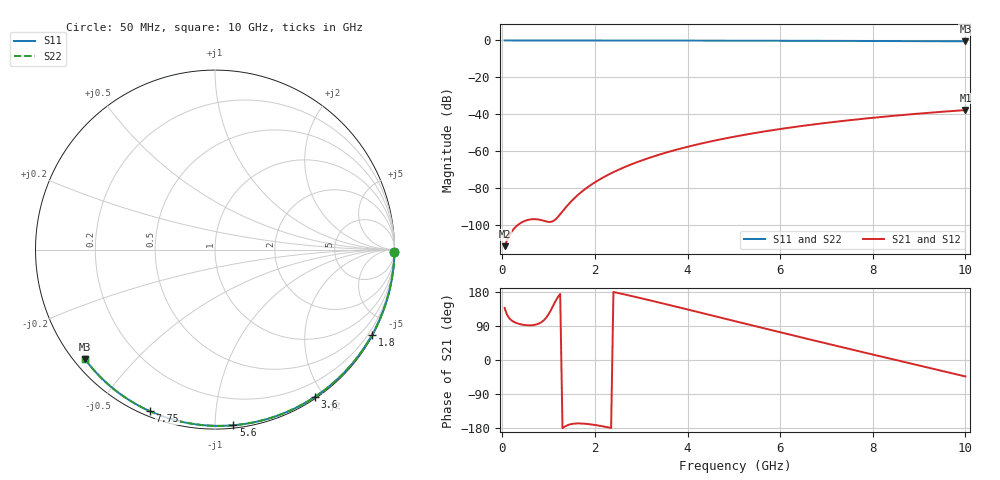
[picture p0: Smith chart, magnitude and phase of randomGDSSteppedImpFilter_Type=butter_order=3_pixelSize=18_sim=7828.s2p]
! freq	dB(S11)	phase(S11)	dB(S12)	phase(S12)
!  dB(S21)	phase(S21)	dB(S22)	phase(S22)
!S-par simulation data
#  GHz  S  DB  R 50
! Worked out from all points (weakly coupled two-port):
!   200 points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, 50 MHz to 10 GHz, reference 50 ohm
!   highest |S21| = -37.83 dB at 10 GHz (marker M1); lowest = -111.8 dB at 50 MHz (marker M2)
!   lowest |S11| = -0.5 dB at 10 GHz (marker M3), VSWR 36.90, Z = 1.54 - j18.3 ohm
!   |S11| at or under -10 dB: nowhere
!   |S22| runs from -0.5 to 0.0 dB; largest |S21 - S12| = 0
!   S11 on the Smith chart (normalised r, x): 50 MHz: open; 1.8 GHz: 0.03, -3.92; 3.6 GHz: 0.02, -1.89; 5.6 GHz: 0.02, -1.11; 7.75 GHz: 0.02, -0.68; 10 GHz: 0.03, -0.37
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0.05  -0.00 -0.8  -111.76 137.5  -111.76 137.5  -0.00 -0.8
0.45  -0.01 -7.3  -98.44 92.9  -98.44 92.9  -0.01 -7.3
0.9  -0.02 -14.4  -97.98 105.1  -97.98 105.1  -0.02 -14.4
1.75  -0.04 -27.8  -81.47 -167.9  -81.47 -167.9  -0.04 -27.8
1.8  -0.04 -28.6  -80.50 -168.3  -80.50 -168.3  -0.04 -28.6
1.85  -0.04 -29.4  -79.59 -169.0  -79.59 -169.0  -0.04 -29.4
2.05  -0.04 -32.5  -76.29 -172.4  -76.29 -172.4  -0.04 -32.5
2.25  -0.05 -35.6  -73.44 -176.9  -73.44 -176.9  -0.05 -35.6
2.55  -0.05 -40.2  -69.79 175.5  -69.79 175.5  -0.05 -40.2
2.95  -0.06 -46.2  -65.73 164.3  -65.73 164.3  -0.06 -46.2
3.4  -0.07 -52.9  -61.94 151.2  -61.94 151.2  -0.07 -52.9
3.6  -0.08 -55.9  -60.46 145.3  -60.46 145.3  -0.08 -55.9
4.3  -0.09 -66.0  -55.97 124.3  -55.97 124.3  -0.09 -66.0
5.05  -0.12 -76.5  -52.08 101.7  -52.08 101.7  -0.12 -76.5
5.6  -0.14 -84.0  -49.68 85.2  -49.68 85.2  -0.14 -84.0
6.15  -0.16 -91.4  -47.56 68.8  -47.56 68.8  -0.16 -91.4
6.7  -0.19 -98.6  -45.69 52.5  -45.69 52.5  -0.19 -98.6
7.2  -0.22 -105.0  -44.17 37.7  -44.17 37.7  -0.22 -105.0
7.75  -0.26 -111.9  -42.65 21.7  -42.65 21.7  -0.26 -111.9
8.35  -0.31 -119.4  -41.17 4.3  -41.17 4.3  -0.31 -119.4
9.2  -0.38 -129.9  -39.32 -20.2  -39.32 -20.2  -0.38 -129.9
10  -0.47 -139.8  -37.83 -43.4  -37.83 -43.4  -0.47 -139.8
